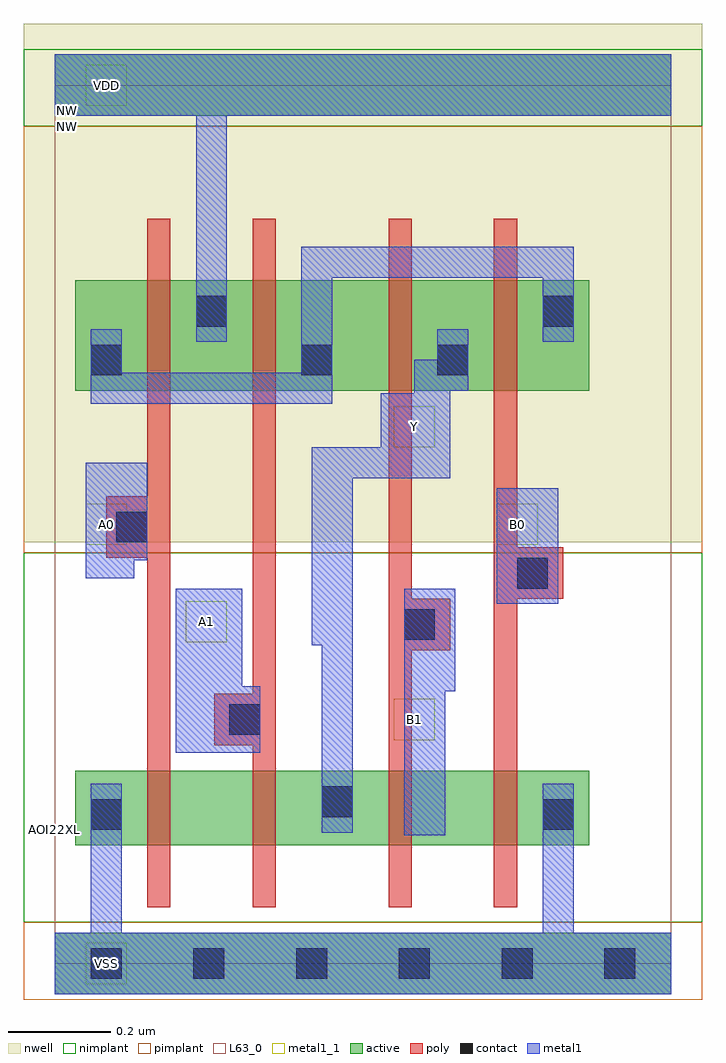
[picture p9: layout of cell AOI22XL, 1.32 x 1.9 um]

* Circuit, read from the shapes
.subckt AOI22XL A0 A1 B0 B1 NW VDD VSS Y
M1 n1 A0 VSS VSS nfet w=0.145u l=0.045u
M2 Y A1 n1 VSS nfet w=0.145u l=0.045u
M3 n2 B1 Y VSS nfet w=0.145u l=0.045u
M4 VSS B0 n2 VSS nfet w=0.145u l=0.045u
M5 VDD A0 n3 NW pfet w=0.215u l=0.045u
M6 n3 A1 VDD NW pfet w=0.215u l=0.045u
M7 Y B1 n3 NW pfet w=0.215u l=0.045u
M8 n3 B0 Y NW pfet w=0.215u l=0.045u
.ends

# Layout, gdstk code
import gdstk
lib = gdstk.Library(unit=1e-6, precision=5e-10)
def R(c, l, rs):  # rectangles x0, y0, x1, y1
    for r in rs: c.add(gdstk.rectangle(r[:2], r[2:], *l))
def A(c, l, x, y, w, h, nx, ny, dx, dy):  # array of equal rectangles
    R(c, l, [(x+i*dx, y+j*dy, x+i*dx+w, y+j*dy+h) for i in range(nx) for j in range(ny)])
def P(c, l, *ps):  # polygons
    for p in ps: c.add(gdstk.Polygon(p, *l))
active = (1, 0)
nwell = (2, 0)
poly = (3, 0)
nimplant = (4, 0)
pimplant = (5, 0)
contact = (6, 0)
metal1 = (7, 0)
metal1_1 = (7, 1)
L63_0 = (63, 0)

aoi22xl = lib.new_cell('AOI22XL')
R(aoi22xl, active, [(0,-0.06,1.2,0.06), (0.04,0.23,1.04,0.375), (0.04,1.115,1.04,1.33), (0,1.65,1.2,1.77)])
R(aoi22xl, nwell, [(-0.06,0.82,1.26,1.83), (0,1.61,0.05,1.71)])
P(aoi22xl, poly, [(0.99,0.81),(0.9,0.81),(0.9,1.45),(0.855,1.45),(0.855,0.11),(0.9,0.11),(0.9,0.71),(0.99,0.71)],
  [(0.77,0.71),(0.695,0.71),(0.695,1.45),(0.65,1.45),(0.65,0.11),(0.695,0.11),(0.695,0.61),(0.77,0.61)],
  [(0.43,1.45),(0.385,1.45),(0.385,0.525),(0.31,0.525),(0.31,0.425),(0.385,0.425),(0.385,0.11),(0.43,0.11)],
  [(0.225,1.45),(0.18,1.45),(0.18,0.91),(0.1,0.91),(0.1,0.79),(0.18,0.79),(0.18,0.11),(0.225,0.11)])
R(aoi22xl, nimplant, [(-0.06,0.08,1.26,0.8), (-0.06,1.63,1.26,1.78)])
R(aoi22xl, pimplant, [(-0.06,-0.07,1.26,0.08), (-0.06,0.8,1.26,1.63)])
A(aoi22xl, contact, 0.07, -0.03, 0.06, 0.06, 6, 1, 0.2, 0)
R(aoi22xl, contact, [(0.07,0.26,0.13,0.32), (0.95,0.26,1.01,0.32), (0.52,0.285,0.58,0.345), (0.34,0.445,0.4,0.505), (0.68,0.63,0.74,0.69), (0.9,0.73,0.96,0.79), (0.12,0.82,0.18,0.88), (0.07,1.145,0.13,1.205), (0.48,1.145,0.54,1.205), (0.745,1.145,0.805,1.205), (0.275,1.24,0.335,1.3), (0.95,1.24,1.01,1.3)])
R(aoi22xl, metal1, [(0.07,0.06,0.13,0.35), (0.95,0.06,1.01,0.35), (0.86,0.7,0.98,0.925), (0.275,1.21,0.335,1.65)])
P(aoi22xl, metal1, [(1.01,1.395),(0.48,1.395),(0.48,1.15),(0.13,1.15),(0.13,1.235),(0.07,1.235),(0.07,1.09),(0.54,1.09),(0.54,1.335),(0.95,1.335),(0.95,1.21),(1.01,1.21)],
  [(0.805,1.235),(0.745,1.235),(0.745,1.175),(0.7,1.175),(0.7,1.11),(0.635,1.11),(0.635,1.005),(0.5,1.005),(0.5,0.62),(0.52,0.62),(0.52,0.255),(0.58,0.255),(0.58,0.945),(0.77,0.945),(0.77,1.115),(0.805,1.115)],
  [(0.78,0.73),(0.68,0.73),(0.68,0.25),(0.76,0.25),(0.76,0.53),(0.78,0.53)],
  [(0.4,0.54),(0.365,0.54),(0.365,0.73),(0.235,0.73),(0.235,0.41),(0.4,0.41)],
  [(0.18,0.975),(0.06,0.975),(0.06,0.75),(0.155,0.75),(0.155,0.785),(0.18,0.785)])
A(aoi22xl, metal1_1, 0.06, -0.04, 0.08, 0.08, 1, 3, 0, 0.855)
R(aoi22xl, metal1_1, [(0.66,0.435,0.74,0.515), (0.255,0.625,0.335,0.705), (0.86,0.815,0.94,0.895), (0.66,1.005,0.74,1.085)])
R(aoi22xl, L63_0, [(0,0,1.2,1.71)])
aoi22xl.add(gdstk.FlexPath([(0,0),(1.2,0)], 0.12, ends="flush", simple_path=True, layer=7, datatype=0))  # metal1
aoi22xl.add(gdstk.FlexPath([(0,1.71),(1.2,1.71)], 0.12, ends="flush", simple_path=True, layer=7, datatype=0))  # metal1
aoi22xl.add(gdstk.Label('VSS', (0.1,0), layer=7, texttype=1))
aoi22xl.add(gdstk.Label('Y', (0.7,1.045), layer=7, texttype=1))
aoi22xl.add(gdstk.Label('A0', (0.1,0.855), layer=7, texttype=1))
aoi22xl.add(gdstk.Label('B0', (0.9,0.855), layer=7, texttype=1))
aoi22xl.add(gdstk.Label('B1', (0.7,0.475), layer=7, texttype=1))
aoi22xl.add(gdstk.Label('A1', (0.295,0.665), layer=7, texttype=1))
aoi22xl.add(gdstk.Label('VDD', (0.1,1.71), layer=7, texttype=1))
aoi22xl.add(gdstk.Label('VSS', (0.1,0), layer=7, texttype=1))
aoi22xl.add(gdstk.Label('VDD', (0.1,1.71), layer=7, texttype=1))
aoi22xl.add(gdstk.Label('A1', (0.295,0.665), layer=7, texttype=1))
aoi22xl.add(gdstk.Label('B1', (0.7,0.475), layer=7, texttype=1))
aoi22xl.add(gdstk.Label('B0', (0.9,0.855), layer=7, texttype=1))
aoi22xl.add(gdstk.Label('A0', (0.1,0.855), layer=7, texttype=1))
aoi22xl.add(gdstk.Label('Y', (0.7,1.045), layer=7, texttype=1))
aoi22xl.add(gdstk.Label('AOI22XL', (0,0.26), layer=63, texttype=0))
aoi22xl.add(gdstk.Label('NW', (0.025,1.66), layer=2, texttype=0))
aoi22xl.add(gdstk.Label('NW', (0.025,1.63), layer=2, texttype=0))

lib.write_gds('AOI22XL.gds')
